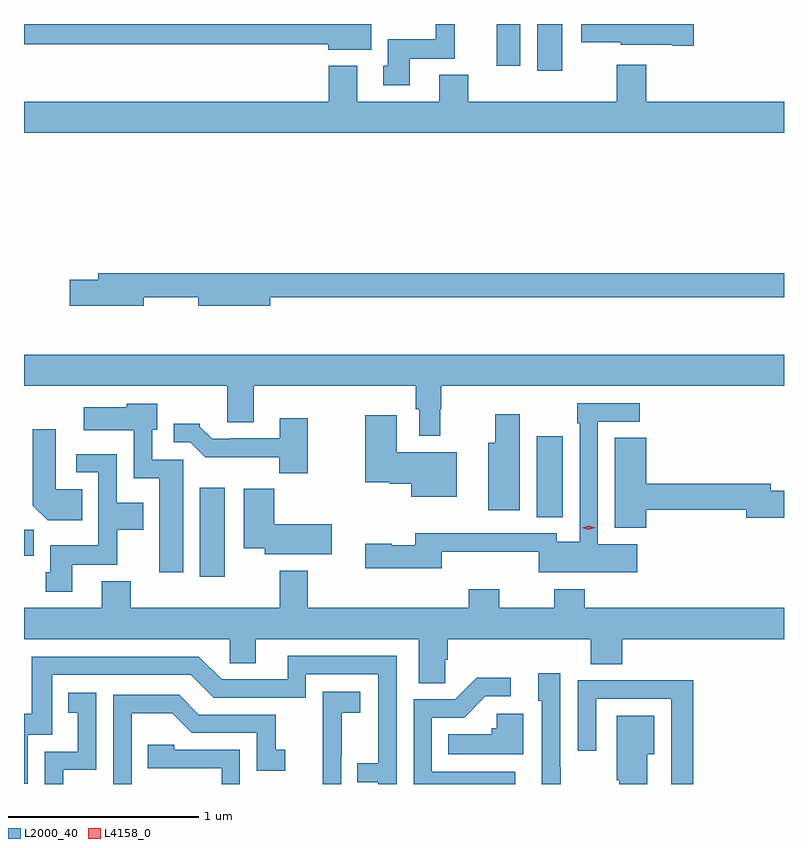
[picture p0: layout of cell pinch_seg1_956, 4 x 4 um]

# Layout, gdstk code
import gdstk
lib = gdstk.Library(unit=1e-6, precision=1e-09)
def R(c, l, rs):  # rectangles x0, y0, x1, y1
    for r in rs: c.add(gdstk.rectangle(r[:2], r[2:], *l))
def P(c, l, *ps):  # polygons
    for p in ps: c.add(gdstk.Polygon(p, *l))
L2000_40 = (2000, 40)
L4158_0 = (4158, 0)

pinch_seg1_956 = lib.new_cell('pinch_seg1_956')
R(pinch_seg1_956, L2000_40, [(263.921,556.056,264.052,556.525), (262.996,556.166,263.047,556.304), (265.694,556.369,265.831,556.795), (265.697,558.72,265.828,558.965), (265.484,558.744,265.609,558.965)])
P(pinch_seg1_956, L2000_40, [(265.027,558.782),(265.263,558.782),(265.263,558.965),(265.164,558.965),(265.164,558.886),(264.911,558.886),(264.911,558.744),(264.887,558.744),(264.887,558.642),(265.027,558.642)],
  [(264.823,558.965),(262.996,558.965),(262.996,558.858),(264.596,558.858),(264.596,558.83),(264.823,558.83)],
  [(266.521,558.965),(265.928,558.965),(265.928,558.869),(266.136,558.869),(266.136,558.857),(266.408,558.857),(266.408,558.85),(266.521,558.85)],
  [(266.996,558.556),(266.27,558.556),(266.27,558.751),(266.117,558.751),(266.117,558.556),(265.334,558.556),(265.334,558.697),(265.181,558.697),(265.181,558.556),(264.751,558.556),(264.751,558.745),(264.599,558.745),(264.599,558.556),(262.996,558.556),(262.996,558.392),(266.996,558.392)],
  [(263.626,557.526),(263.912,557.526),(263.912,557.483),(264.292,557.483),(264.292,557.526),(266.996,557.526),(266.996,557.654),(263.387,557.654),(263.387,557.618),(263.238,557.618),(263.238,557.483),(263.626,557.483)],
  [(265.186,556.937),(265.193,556.937),(265.193,557.06),(266.996,557.06),(266.996,557.224),(262.996,557.224),(262.996,557.06),(264.065,557.06),(264.065,556.87),(264.205,556.87),(264.205,557.06),(265.057,557.06),(265.057,556.937),(265.077,556.937),(265.077,556.797),(265.186,556.797)],
  [(266.224,556.228),(266.016,556.228),(266.016,556.872),(266.236,556.872),(266.236,556.968),(265.908,556.968),(265.908,556.865),(265.92,556.865),(265.92,556.24),(265.8,556.24),(265.8,556.284),(265.291,556.284),(265.291,556.286),(265.055,556.286),(265.055,556.222),(264.932,556.222),(264.932,556.23),(264.792,556.23),(264.792,556.1),(265.195,556.1),(265.195,556.187),(265.704,556.187),(265.704,556.079),(266.224,556.079)],
  [(263.833,556.671),(263.67,556.671),(263.67,556.83),(263.698,556.83),(263.698,556.966),(263.538,556.966),(263.538,556.948),(263.31,556.948),(263.31,556.826),(263.574,556.826),(263.574,556.574),(263.708,556.574),(263.708,556.08),(263.833,556.08)],
  [(265.606,556.912),(265.477,556.912),(265.477,556.762),(265.439,556.762),(265.439,556.406),(265.606,556.406)],
  [(265.273,556.711),(264.958,556.711),(264.958,556.906),(264.793,556.906),(264.793,556.553),(264.921,556.553),(264.921,556.546),(265.034,556.546),(265.034,556.478),(265.273,556.478)],
  [(264.489,556.891),(264.341,556.891),(264.341,556.785),(264.085,556.785),(264.085,556.782),(263.986,556.782),(263.922,556.846),(263.922,556.861),(263.783,556.861),(263.783,556.764),(263.871,556.764),(263.95,556.686),(264.339,556.686),(264.339,556.601),(264.489,556.601)],
  [(263.303,556.516),(263.164,556.516),(263.164,556.831),(263.042,556.831),(263.042,556.43),(263.12,556.352),(263.303,556.352)],
  [(266.272,556.408),(266.798,556.408),(266.798,556.366),(266.996,556.366),(266.996,556.508),(266.926,556.508),(266.926,556.544),(266.272,556.544),(266.272,556.787),(266.105,556.787),(266.105,556.313),(266.272,556.313)],
  [(263.251,556.118),(263.487,556.118),(263.487,556.304),(263.623,556.304),(263.623,556.444),(263.484,556.444),(263.484,556.701),(263.271,556.701),(263.271,556.605),(263.388,556.605),(263.388,556.222),(263.135,556.222),(263.135,556.08),(263.111,556.08),(263.111,555.978),(263.251,555.978)],
  [(264.616,556.333),(264.314,556.333),(264.314,556.519),(264.152,556.519),(264.152,556.205),(264.263,556.205),(264.263,556.175),(264.616,556.175)],
  [(265.212,555.619),(265.226,555.619),(265.226,555.728),(265.979,555.728),(265.979,555.595),(266.144,555.595),(266.144,555.728),(266.996,555.728),(266.996,555.892),(265.946,555.892),(265.946,555.991),(265.786,555.991),(265.786,555.892),(265.497,555.892),(265.497,555.991),(265.337,555.991),(265.337,555.892),(264.489,555.892),(264.489,556.087),(264.341,556.087),(264.341,555.892),(263.558,555.892),(263.558,556.033),(263.405,556.033),(263.405,555.892),(262.996,555.892),(262.996,555.728),(264.078,555.728),(264.078,555.601),(264.217,555.601),(264.217,555.728),(265.073,555.728),(265.073,555.496),(265.212,555.496)],
  [(264.957,555.639),(264.383,555.639),(264.383,555.516),(264.036,555.516),(263.916,555.636),(263.037,555.636),(263.037,555.334),(262.996,555.334),(262.996,554.967),(263.016,554.967),(263.016,555.225),(263.145,555.225),(263.145,555.54),(263.874,555.54),(263.994,555.42),(264.48,555.42),(264.48,555.543),(264.861,555.543),(264.861,555.074),(264.751,555.074),(264.751,554.973),(264.861,554.973),(264.861,554.965),(264.957,554.965)],
  [(265.821,555.053),(265.818,555.053),(265.818,555.547),(265.703,555.547),(265.703,555.402),(265.722,555.402),(265.722,554.965),(265.821,554.965)],
  [(265.582,555.03),(265.143,555.03),(265.143,555.315),(265.312,555.315),(265.423,555.426),(265.558,555.426),(265.558,555.524),(265.379,555.524),(265.266,555.411),(265.047,555.411),(265.047,554.965),(265.582,554.965)],
  [(266.519,555.512),(266.227,555.512),(266.227,555.51),(265.911,555.51),(265.911,555.141),(266.007,555.141),(266.007,555.414),(266.403,555.414),(266.403,554.965),(266.519,554.965)],
  [(264.666,555.113),(264.668,555.113),(264.668,555.341),(264.766,555.341),(264.766,555.451),(264.568,555.451),(264.568,555.245),(264.569,555.245),(264.569,554.965),(264.666,554.965)],
  [(263.202,555.039),(263.376,555.039),(263.376,555.445),(263.23,555.445),(263.23,555.339),(263.279,555.339),(263.279,555.135),(263.106,555.135),(263.106,554.965),(263.202,554.965)],
  [(263.562,555.338),(263.776,555.338),(263.88,555.234),(264.222,555.234),(264.222,555.036),(264.37,555.036),(264.37,555.145),(264.321,555.145),(264.321,555.33),(263.917,555.33),(263.812,555.435),(263.466,555.435),(263.466,554.965),(263.562,554.965)],
  [(265.624,555.334),(265.485,555.334),(265.485,555.258),(265.459,555.258),(265.459,555.226),(265.228,555.226),(265.228,555.122),(265.624,555.122)],
  [(266.275,555.122),(266.314,555.122),(266.314,555.325),(266.117,555.325),(266.117,554.985),(266.129,554.985),(266.129,554.965),(266.275,554.965)],
  [(264.132,555.144),(263.787,555.144),(263.787,555.171),(263.647,555.171),(263.647,555.048),(264.036,555.048),(264.036,554.965),(264.132,554.965)])
P(pinch_seg1_956, L4158_0, [(265.967,556.304),(265.933,556.314),(265.932,556.314),(265.933,556.314),(265.968,556.324),(266.002,556.313),(266.002,556.313),(266.002,556.313)])

lib.write_gds('pinch_seg1_956.gds')
